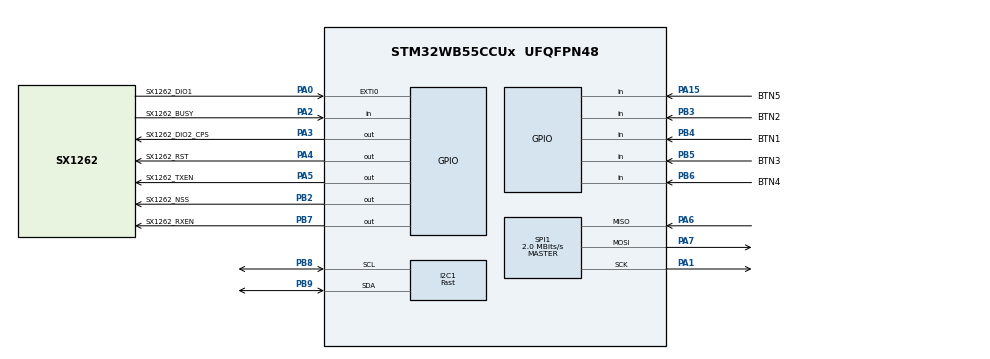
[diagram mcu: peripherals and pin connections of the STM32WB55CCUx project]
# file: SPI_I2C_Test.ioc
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I2C1.I2C_Speed_Mode=I2C_Fast
I2C1.Timing=0x00000003
Mcu.Family=STM32WB
Mcu.Name=STM32WB55CCUx
Mcu.Package=UFQFPN48
NVIC.EXTI0_IRQn=true\:0\:0\:false\:false\:true\:true\:true\:true
NVIC.PriorityGroup=NVIC_PRIORITYGROUP_4
OSC_IN.Mode=HSE-External-Oscillator
OSC_IN.Signal=RCC_OSC_IN
OSC_OUT.Mode=HSE-External-Oscillator
OSC_OUT.Signal=RCC_OSC_OUT
PA0.GPIO_Label=SX1262_DIO1
PA0.Signal=GPXTI0
PA1.Mode=Full_Duplex_Master
PA1.Signal=SPI1_SCK
PA15.GPIO_Label=BTN5
PA15.Signal=GPIO_Input
PA2.GPIO_Label=SX1262_BUSY
PA2.Signal=GPIO_Input
PA3.GPIO_Label=SX1262_DIO2_CPS
PA3.Signal=GPIO_Output
PA4.GPIO_Label=SX1262_RST
PA4.PinState=GPIO_PIN_SET
PA4.Signal=GPIO_Output
PA5.GPIO_Label=SX1262_TXEN
PA5.Signal=GPIO_Output
PA6.Mode=Full_Duplex_Master
PA6.Signal=SPI1_MISO
PA7.Mode=Full_Duplex_Master
PA7.Signal=SPI1_MOSI
PB2.GPIO_Label=SX1262_NSS
PB2.PinState=GPIO_PIN_SET
PB2.Signal=GPIO_Output
PB3.GPIO_Label=BTN2
PB3.Signal=GPIO_Input
PB4.GPIO_Label=BTN1
PB4.Signal=GPIO_Input
PB5.GPIO_Label=BTN3
PB5.Signal=GPIO_Input
PB6.GPIO_Label=BTN4
PB6.Signal=GPIO_Input
PB7.GPIO_Label=SX1262_RXEN
PB7.Signal=GPIO_Output
PB8.Mode=I2C
PB8.Signal=I2C1_SCL
PB9.Mode=I2C
PB9.Signal=I2C1_SDA
PC14-OSC32_IN.Mode=LSE-External-Oscillator
PC14-OSC32_IN.Signal=RCC_OSC32_IN
PC15-OSC32_OUT.Mode=LSE-External-Oscillator
PC15-OSC32_OUT.Signal=RCC_OSC32_OUT
ProjectManager.HeapSize=0x200
ProjectManager.StackSize=0x400
ProjectManager.TargetToolchain=STM32CubeIDE
RCC.APB3Freq_Value=4000000
RCC.HSE_VALUE=8000000
RCC.HSI48_VALUE=48000000
RCC.HSI_VALUE=16000000
RCC.VCOOutputFreq_Value=32000000
SPI1.CalculateBaudRate=2.0 MBits/s
SPI1.DataSize=SPI_DATASIZE_8BIT
SPI1.Direction=SPI_DIRECTION_2LINES
SPI1.Mode=SPI_MODE_MASTER
SPI1.VirtualType=VM_MASTER
VP_MEMORYMAP_VS_MEMORYMAP.Mode=CurAppReg
board=custom

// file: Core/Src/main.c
/* USER CODE BEGIN Header */
/**
  ******************************************************************************
  * @file           : main.c
  * @brief          : Main program body
  ******************************************************************************
  * @attention
  *
  * Copyright (c) 2026 STMicroelectronics.
  * All rights reserved.
  *
  * This software is licensed under terms that can be found in the LICENSE file
  * in the root directory of this software component.
  * If no LICENSE file comes with this software, it is provided AS-IS.
  *
  ******************************************************************************
  */
/* USER CODE END Header */
#include "main.h"

/* USER CODE BEGIN Includes */
#include "ssd1306.h"
#include "board_sx126x_calls.h"
#include <stdio.h>
/* USER CODE END Includes */

I2C_HandleTypeDef hi2c1;

SPI_HandleTypeDef hspi1;

void SystemClock_Config(void);
void PeriphCommonClock_Config(void);
static void MX_GPIO_Init(void);
static void MX_I2C1_Init(void);
static void MX_SPI1_Init(void);

/* USER CODE BEGIN 0 */
volatile uint8_t display_toggle = 1;
char oled_buffer[24];
int BLE_R = 0;
int BLE_M = 0;
int BLE_Dis = 1;
uint32_t now;
uint32_t last_update = 0;
const uint32_t update_interval = 1000;
/* USER CODE END 0 */

int main(void)
{

  /* MCU Configuration--------------------------------------------------------*/

  /* Reset of all peripherals, Initializes the Flash interface and the Systick. */
  HAL_Init();

  /* Configure the system clock */
  SystemClock_Config();

  /* Configure the peripherals common clocks */
  PeriphCommonClock_Config();

  /* Initialize all configured peripherals */
  MX_GPIO_Init();
  MX_I2C1_Init();
  MX_SPI1_Init();
  /* USER CODE BEGIN 2 */

  // setting up the OLED first so I can display error messages on it
	SSD1306_Init();
	SSD1306_Clear();
	SSD1306_GotoXY(0, 0);
	SSD1306_Puts("SX1262 Debug:", &Font_7x10, 1);
	SSD1306_UpdateScreen();

	//
	if (setup_fhss_22dBm_Tx(NULL) != SX126X_STATUS_OK) {

	/* OLED error, hold */
		SSD1306_Clear();
		snprintf(oled_buffer, sizeof(oled_buffer), "Booger Time");				// display error
		SSD1306_GotoXY(0,0);
		SSD1306_Puts(oled_buffer, &Font_7x10, 1);
		SSD1306_UpdateScreen();
		while(1);																// hold
	}

	uint8_t payload[] = { 'H','I' };       // content doesn't matter for your use case
	fhss_send(payload, sizeof payload);

  /* USER CODE END 2 */

  /* Infinite loop */
  while (1)
  {
	    fhss_process();
	    if (!tx_busy) {
	        HAL_Delay(50);
	        if(fhss_send(payload, sizeof payload) != SX126X_STATUS_OK){
					SSD1306_Clear();
					snprintf(oled_buffer, sizeof(oled_buffer), "You Are Booger Boy");				// display error
					SSD1306_GotoXY(0,0);
					SSD1306_Puts(oled_buffer, &Font_7x10, 1);
					SSD1306_UpdateScreen();
	        }
	    }
  }
}

void SystemClock_Config(void)
{
  RCC_OscInitTypeDef RCC_OscInitStruct = {0};
  RCC_ClkInitTypeDef RCC_ClkInitStruct = {0};

  /** Configure the main internal regulator output voltage
  */
  __HAL_PWR_VOLTAGESCALING_CONFIG(PWR_REGULATOR_VOLTAGE_SCALE1);

  /** Initializes the RCC Oscillators according to the specified parameters
  * in the RCC_OscInitTypeDef structure.
  */
  RCC_OscInitStruct.OscillatorType = RCC_OSCILLATORTYPE_HSI|RCC_OSCILLATORTYPE_HSE
                              |RCC_OSCILLATORTYPE_MSI;
  RCC_OscInitStruct.HSEState = RCC_HSE_ON;
  RCC_OscInitStruct.HSIState = RCC_HSI_ON;
  RCC_OscInitStruct.MSIState = RCC_MSI_ON;
  RCC_OscInitStruct.HSICalibrationValue = RCC_HSICALIBRATION_DEFAULT;
  RCC_OscInitStruct.MSICalibrationValue = RCC_MSICALIBRATION_DEFAULT;
  RCC_OscInitStruct.MSIClockRange = RCC_MSIRANGE_6;
  RCC_OscInitStruct.PLL.PLLState = RCC_PLL_NONE;
  if (HAL_RCC_OscConfig(&RCC_OscInitStruct) != HAL_OK)
  {
    Error_Handler();
  }

  /** Configure the SYSCLKSource, HCLK, PCLK1 and PCLK2 clocks dividers
  */
  RCC_ClkInitStruct.ClockType = RCC_CLOCKTYPE_HCLK4|RCC_CLOCKTYPE_HCLK2
                              |RCC_CLOCKTYPE_HCLK|RCC_CLOCKTYPE_SYSCLK
                              |RCC_CLOCKTYPE_PCLK1|RCC_CLOCKTYPE_PCLK2;
  RCC_ClkInitStruct.SYSCLKSource = RCC_SYSCLKSOURCE_MSI;
  RCC_ClkInitStruct.AHBCLKDivider = RCC_SYSCLK_DIV1;
  RCC_ClkInitStruct.APB1CLKDivider = RCC_HCLK_DIV1;
  RCC_ClkInitStruct.APB2CLKDivider = RCC_HCLK_DIV1;
  RCC_ClkInitStruct.AHBCLK2Divider = RCC_SYSCLK_DIV1;
  RCC_ClkInitStruct.AHBCLK4Divider = RCC_SYSCLK_DIV1;

  if (HAL_RCC_ClockConfig(&RCC_ClkInitStruct, FLASH_LATENCY_0) != HAL_OK)
  {
    Error_Handler();
  }
}

void PeriphCommonClock_Config(void)
{
  RCC_PeriphCLKInitTypeDef PeriphClkInitStruct = {0};

  /** Initializes the peripherals clock
  */
  PeriphClkInitStruct.PeriphClockSelection = RCC_PERIPHCLK_SMPS;
  PeriphClkInitStruct.SmpsClockSelection = RCC_SMPSCLKSOURCE_HSI;
  PeriphClkInitStruct.SmpsDivSelection = RCC_SMPSCLKDIV_RANGE1;

  if (HAL_RCCEx_PeriphCLKConfig(&PeriphClkInitStruct) != HAL_OK)
  {
    Error_Handler();
  }
}

static void MX_I2C1_Init(void)
{

  hi2c1.Instance = I2C1;
  hi2c1.Init.Timing = 0x00000003;
  hi2c1.Init.OwnAddress1 = 0;
  hi2c1.Init.AddressingMode = I2C_ADDRESSINGMODE_7BIT;
  hi2c1.Init.DualAddressMode = I2C_DUALADDRESS_DISABLE;
  hi2c1.Init.OwnAddress2 = 0;
  hi2c1.Init.OwnAddress2Masks = I2C_OA2_NOMASK;
  hi2c1.Init.GeneralCallMode = I2C_GENERALCALL_DISABLE;
  hi2c1.Init.NoStretchMode = I2C_NOSTRETCH_DISABLE;
  if (HAL_I2C_Init(&hi2c1) != HAL_OK)
  {
    Error_Handler();
  }

  /** Configure Analogue filter
  */
  if (HAL_I2CEx_ConfigAnalogFilter(&hi2c1, I2C_ANALOGFILTER_ENABLE) != HAL_OK)
  {
    Error_Handler();
  }

  /** Configure Digital filter
  */
  if (HAL_I2CEx_ConfigDigitalFilter(&hi2c1, 0) != HAL_OK)
  {
    Error_Handler();
  }

}

static void MX_SPI1_Init(void)
{

  /* SPI1 parameter configuration*/
  hspi1.Instance = SPI1;
  hspi1.Init.Mode = SPI_MODE_MASTER;
  hspi1.Init.Direction = SPI_DIRECTION_2LINES;
  hspi1.Init.DataSize = SPI_DATASIZE_8BIT;
  hspi1.Init.CLKPolarity = SPI_POLARITY_LOW;
  hspi1.Init.CLKPhase = SPI_PHASE_1EDGE;
  hspi1.Init.NSS = SPI_NSS_SOFT;
  hspi1.Init.BaudRatePrescaler = SPI_BAUDRATEPRESCALER_2;
  hspi1.Init.FirstBit = SPI_FIRSTBIT_MSB;
  hspi1.Init.TIMode = SPI_TIMODE_DISABLE;
  hspi1.Init.CRCCalculation = SPI_CRCCALCULATION_DISABLE;
  hspi1.Init.CRCPolynomial = 7;
  hspi1.Init.CRCLength = SPI_CRC_LENGTH_DATASIZE;
  hspi1.Init.NSSPMode = SPI_NSS_PULSE_ENABLE;
  if (HAL_SPI_Init(&hspi1) != HAL_OK)
  {
    Error_Handler();
  }

}

static void MX_GPIO_Init(void)
{
  GPIO_InitTypeDef GPIO_InitStruct = {0};

  /* GPIO Ports Clock Enable */
  __HAL_RCC_GPIOC_CLK_ENABLE();
  __HAL_RCC_GPIOB_CLK_ENABLE();
  __HAL_RCC_GPIOA_CLK_ENABLE();

  /*Configure GPIO pin Output Level */
  HAL_GPIO_WritePin(GPIOA, SX1262_DIO2_CPS_Pin|SX1262_TXEN_Pin, GPIO_PIN_RESET);

  /*Configure GPIO pin Output Level */
  HAL_GPIO_WritePin(SX1262_RST_GPIO_Port, SX1262_RST_Pin, GPIO_PIN_SET);

  /*Configure GPIO pin Output Level */
  HAL_GPIO_WritePin(SX1262_NSS_GPIO_Port, SX1262_NSS_Pin, GPIO_PIN_SET);

  /*Configure GPIO pin Output Level */
  HAL_GPIO_WritePin(SX1262_RXEN_GPIO_Port, SX1262_RXEN_Pin, GPIO_PIN_RESET);

  /*Configure GPIO pin : SX1262_DIO1_Pin */
  GPIO_InitStruct.Pin = SX1262_DIO1_Pin;
  GPIO_InitStruct.Mode = GPIO_MODE_IT_RISING;
  GPIO_InitStruct.Pull = GPIO_NOPULL;
  HAL_GPIO_Init(SX1262_DIO1_GPIO_Port, &GPIO_InitStruct);

  /*Configure GPIO pins : SX1262_BUSY_Pin BTN5_Pin */
  GPIO_InitStruct.Pin = SX1262_BUSY_Pin|BTN5_Pin;
  GPIO_InitStruct.Mode = GPIO_MODE_INPUT;
  GPIO_InitStruct.Pull = GPIO_NOPULL;
  HAL_GPIO_Init(GPIOA, &GPIO_InitStruct);

  /*Configure GPIO pins : SX1262_DIO2_CPS_Pin SX1262_RST_Pin SX1262_TXEN_Pin */
  GPIO_InitStruct.Pin = SX1262_DIO2_CPS_Pin|SX1262_RST_Pin|SX1262_TXEN_Pin;
  GPIO_InitStruct.Mode = GPIO_MODE_OUTPUT_PP;
  GPIO_InitStruct.Pull = GPIO_NOPULL;
  GPIO_InitStruct.Speed = GPIO_SPEED_FREQ_LOW;
  HAL_GPIO_Init(GPIOA, &GPIO_InitStruct);

  /*Configure GPIO pins : SX1262_NSS_Pin SX1262_RXEN_Pin */
  GPIO_InitStruct.Pin = SX1262_NSS_Pin|SX1262_RXEN_Pin;
  GPIO_InitStruct.Mode = GPIO_MODE_OUTPUT_PP;
  GPIO_InitStruct.Pull = GPIO_NOPULL;
  GPIO_InitStruct.Speed = GPIO_SPEED_FREQ_LOW;
  HAL_GPIO_Init(GPIOB, &GPIO_InitStruct);

  /*Configure GPIO pins : BTN2_Pin BTN1_Pin BTN3_Pin BTN4_Pin */
  GPIO_InitStruct.Pin = BTN2_Pin|BTN1_Pin|BTN3_Pin|BTN4_Pin;
  GPIO_InitStruct.Mode = GPIO_MODE_INPUT;
  GPIO_InitStruct.Pull = GPIO_NOPULL;
  HAL_GPIO_Init(GPIOB, &GPIO_InitStruct);

  /* EXTI interrupt init*/
  HAL_NVIC_SetPriority(EXTI0_IRQn, 0, 0);
  HAL_NVIC_EnableIRQ(EXTI0_IRQn);

}

/* USER CODE BEGIN 4 */
void HAL_GPIO_EXTI_Callback(uint16_t GPIO_Pin)
{
    if (GPIO_Pin == SX1262_DIO1_Pin) {
        dio1_flag = true;
    }
}
/* USER CODE END 4 */

void Error_Handler(void)
{
  __disable_irq();
  while (1)
  {
  }
}
